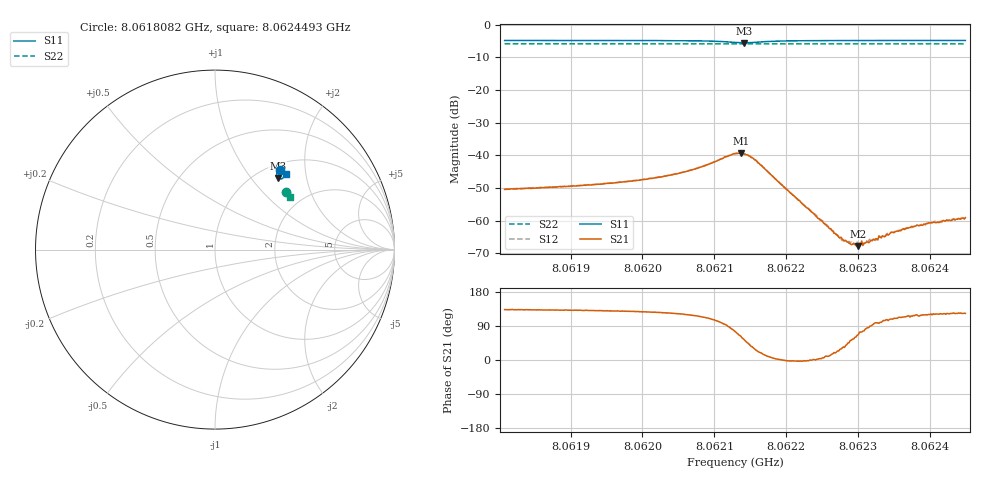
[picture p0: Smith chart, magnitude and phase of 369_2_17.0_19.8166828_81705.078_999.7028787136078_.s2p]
#  HZ  S  RI  R  50.00
! Rohde & Schwarz Vector Network Analyzer
! Rohde-Schwarz,ZNB20-2Port,1311601062101988,3.16
! Created: UTC 3/20/2024, 11:08:39 PM
! freq[Hz]  re:S11  im:S11  re:S21  im:S21  re:S12  im:S12  re:S22  im:S22
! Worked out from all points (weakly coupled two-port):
!   401 points, 8.0618082 GHz to 8.0624493 GHz, reference 50 ohm
!   highest |S21| = -39.35 dB at 8.0621368 GHz (marker M1); lowest = -67.8 dB at 8.0623003 GHz (marker M2)
!   lowest |S11| = -5.5 dB at 8.0621416 GHz (marker M3), VSWR 3.26, Z = 61.8 + j68.5 ohm
!   |S11| at or under -10 dB: nowhere
!   |S22| runs from -5.9 to -5.8 dB; largest |S21 - S12| = 0.00091
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8.06180815e9  0.3648 0.4459  -0.00205 0.00219  -0.00195 0.00233  0.3976 0.3233
8.06191555e9  0.3721 0.4393  -0.00227 0.0026  -0.00213 0.00275  0.4017 0.3178
8.06198127e9  0.377 0.4342  -0.00248 0.00311  -0.00227 0.00333  0.4042 0.3147
8.06202295e9  0.3806 0.4295  -0.00266 0.00376  -0.00244 0.00396  0.4057 0.3125
8.06207264e9  0.385 0.4198  -0.00281 0.00548  -0.0025 0.00569  0.4074 0.3095
8.06212875e9  0.3662 0.3931  0.00267 0.0103  0.00316 0.0102  0.4082 0.3058
8.06213676e9  0.3554 0.3947  0.00492 0.00958  0.00575 0.00922  0.4078 0.3057
8.06214157e9  0.3495 0.3984  0.00623 0.00838  0.00683 0.00812  0.4079 0.3057
8.062156e9  0.3427 0.4162  0.00749 0.00415  0.00778 0.00375  0.4083 0.3059
8.06223615e9  0.3722 0.4348  0.00133 -3.8e-06  0.0013 -0.000135  0.4127 0.3026
8.06227622e9  0.3785 0.4322  0.000486 0.000272  0.000474 0.000217  0.4142 0.3004
8.06228904e9  0.38 0.4312  0.000275 0.000344  0.000332 0.000311  0.4147 0.2998
8.06229385e9  0.3806 0.4308  0.000252 0.000368  0.000267 0.000367  0.4148 0.2996
8.06230027e9  0.3812 0.4305  0.000163 0.000374  0.000186 0.0004  0.415 0.2991
8.06230828e9  0.3821 0.4299  0.000103 0.000439  0.000125 0.000421  0.4154 0.2987
8.0623179e9  0.3829 0.4293  1.13e-06 0.000503  2.9e-05 0.000516  0.4158 0.2981
8.06232591e9  0.3836 0.4289  -7.39e-05 0.00052  -2.83e-05 0.000514  0.4159 0.298
8.06234355e9  0.3852 0.4279  -0.000182 0.000593  -0.000162 0.000628  0.4167 0.2968
8.0623724e9  0.3875 0.4261  -0.000309 0.000717  -0.00031 0.000729  0.4176 0.2955
8.06239805e9  0.3894 0.4246  -0.000465 0.000794  -0.000421 0.00082  0.4187 0.2942
8.06240606e9  0.39 0.4241  -0.000482 0.000814  -0.000444 0.000862  0.4188 0.2937
8.06244934e9  0.393 0.4217  -0.000603 0.000932  -0.000555 0.000946  0.4204 0.2914
